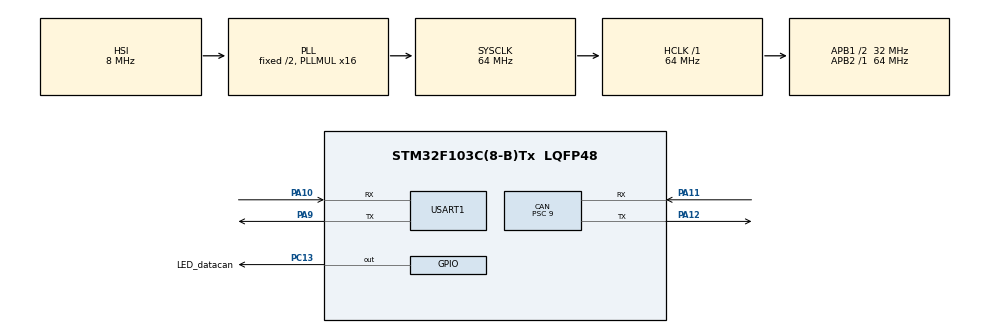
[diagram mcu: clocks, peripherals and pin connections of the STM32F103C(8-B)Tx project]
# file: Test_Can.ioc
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CAN.BS1=CAN_BS1_12TQ
CAN.BS2=CAN_BS2_3TQ
CAN.CalculateBaudRate=222222
CAN.CalculateTimeBit=4500
CAN.CalculateTimeQuantum=281.25
CAN.NART=ENABLE
CAN.Prescaler=9
Mcu.Family=STM32F1
Mcu.Name=STM32F103C(8-B)Tx
Mcu.Package=LQFP48
NVIC.PriorityGroup=NVIC_PRIORITYGROUP_4
NVIC.USB_LP_CAN1_RX0_IRQn=true\:0\:0\:false\:false\:true\:true\:true\:true
PA10.Mode=Asynchronous
PA10.Signal=USART1_RX
PA11.Mode=CAN_Activate
PA11.Signal=CAN_RX
PA12.Mode=CAN_Activate
PA12.Signal=CAN_TX
PA13.Mode=Serial_Wire
PA13.Signal=SYS_JTMS-SWDIO
PA14.Mode=Serial_Wire
PA14.Signal=SYS_JTCK-SWCLK
PA9.Mode=Asynchronous
PA9.Signal=USART1_TX
PC13-TAMPER-RTC.GPIO_Label=LED_datacan
PC13-TAMPER-RTC.Signal=GPIO_Output
ProjectManager.HeapSize=0x200
ProjectManager.StackSize=0x400
ProjectManager.TargetToolchain=STM32CubeIDE
RCC.AHBFreq_Value=64000000
RCC.APB1CLKDivider=RCC_HCLK_DIV2
RCC.APB1Freq_Value=32000000
RCC.APB1TimFreq_Value=64000000
RCC.APB2Freq_Value=64000000
RCC.APB2TimFreq_Value=64000000
RCC.HCLKFreq_Value=64000000
RCC.PLLMUL=RCC_PLL_MUL16
RCC.SYSCLKFreq_VALUE=64000000
RCC.SYSCLKSource=RCC_SYSCLKSOURCE_PLLCLK
RCC.USBFreq_Value=64000000
USART1.VirtualMode=VM_ASYNC
board=custom

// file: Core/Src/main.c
/* USER CODE BEGIN Header */
/**
  ******************************************************************************
  * @file           : main.c
  * @brief          : Main program body
  ******************************************************************************
  * @attention
  *
  * Copyright (c) 2026 STMicroelectronics.
  * All rights reserved.
  *
  * This software is licensed under terms that can be found in the LICENSE file
  * in the root directory of this software component.
  * If no LICENSE file comes with this software, it is provided AS-IS.
  *
  ******************************************************************************
  */
/* USER CODE END Header */
#include "main.h"

/* USER CODE BEGIN Includes */
#include "can_receiver.h"
#include <stdio.h>

/* USER CODE END Includes */

CAN_HandleTypeDef hcan;

UART_HandleTypeDef huart1;

void SystemClock_Config(void);
static void MX_GPIO_Init(void);
static void MX_CAN_Init(void);
static void MX_USART1_UART_Init(void);

int main(void)
{

  /* MCU Configuration--------------------------------------------------------*/

  /* Reset of all peripherals, Initializes the Flash interface and the Systick. */
  HAL_Init();

  /* Configure the system clock */
  SystemClock_Config();

  /* Initialize all configured peripherals */
  MX_GPIO_Init();
  MX_CAN_Init();
  MX_USART1_UART_Init();
  /* USER CODE BEGIN 2 */
  extern void CAN_Receiver_Init(CAN_HandleTypeDef *hcan);
  CAN_Receiver_Init(&hcan);
  /* Khai báo biến cờ external từ file can_receiver.c */
  extern volatile uint8_t can_rx_flag;
  extern UART_HandleTypeDef huart1;
  /* USER CODE END 2 */

  /* Infinite loop */
  while (1)
  {

    /* USER CODE BEGIN 3 */
	  if (can_rx_flag == 1) {
	          can_rx_flag = 0; // Xóa cờ ngay lập tức để nhận gói tiếp theo

	          char log_msg[128];
	          int len = 0;

	          // Tùy theo ID CAN nhận được mà in ra nội dung giải mã tương ứng
	          if (rxed_can_id == 0x400) { // REPORT_FRONT_STATUS
	              len = snprintf(log_msg, sizeof(log_msg),
	                             "[CAN MONITOR] 0x400 (Status): Wiper=%d, Turn=%d\r\n",
	                             monitored_wiper, monitored_turn);
	          }
	          else if (rxed_can_id == 0x500) { // FAULT_FRONT_BCM
	              len = snprintf(log_msg, sizeof(log_msg),
	                             "[CAN MONITOR] 0x500 (DTC): Severity=%d, Code=0x%04X, Error=%d\r\n",
	                             dtc_severity, dtc_code_received, simple_error_code);
	          }
	          else {
	              // Đối với các gói ID khác chưa cấu hình giải mã chi tiết, in ra dữ liệu thô
	              len = snprintf(log_msg, sizeof(log_msg),
	                             "[CAN MONITOR] ID: 0x%03lX | DLC: %d | Data: 0x%02X 0x%02X\r\n",
	                             rxed_can_id, rxed_dlc, rxed_data[0], rxed_data[1]);
	          }

	          // Bắn log qua UART ra màn hình máy tính
	          HAL_UART_Transmit(&huart1, (uint8_t *)log_msg, len, 10);
	      }
	    }

  /* USER CODE END 3 */
}

void SystemClock_Config(void)
{
  RCC_OscInitTypeDef RCC_OscInitStruct = {0};
  RCC_ClkInitTypeDef RCC_ClkInitStruct = {0};

  /** Initializes the RCC Oscillators according to the specified parameters
  * in the RCC_OscInitTypeDef structure.
  */
  RCC_OscInitStruct.OscillatorType = RCC_OSCILLATORTYPE_HSI;
  RCC_OscInitStruct.HSIState = RCC_HSI_ON;
  RCC_OscInitStruct.HSICalibrationValue = RCC_HSICALIBRATION_DEFAULT;
  RCC_OscInitStruct.PLL.PLLState = RCC_PLL_ON;
  RCC_OscInitStruct.PLL.PLLSource = RCC_PLLSOURCE_HSI_DIV2;
  RCC_OscInitStruct.PLL.PLLMUL = RCC_PLL_MUL16;
  if (HAL_RCC_OscConfig(&RCC_OscInitStruct) != HAL_OK)
  {
    Error_Handler();
  }

  /** Initializes the CPU, AHB and APB buses clocks
  */
  RCC_ClkInitStruct.ClockType = RCC_CLOCKTYPE_HCLK|RCC_CLOCKTYPE_SYSCLK
                              |RCC_CLOCKTYPE_PCLK1|RCC_CLOCKTYPE_PCLK2;
  RCC_ClkInitStruct.SYSCLKSource = RCC_SYSCLKSOURCE_PLLCLK;
  RCC_ClkInitStruct.AHBCLKDivider = RCC_SYSCLK_DIV1;
  RCC_ClkInitStruct.APB1CLKDivider = RCC_HCLK_DIV2;
  RCC_ClkInitStruct.APB2CLKDivider = RCC_HCLK_DIV1;

  if (HAL_RCC_ClockConfig(&RCC_ClkInitStruct, FLASH_LATENCY_2) != HAL_OK)
  {
    Error_Handler();
  }
}

static void MX_CAN_Init(void)
{

  hcan.Instance = CAN1;
  hcan.Init.Prescaler = 9;
  hcan.Init.Mode = CAN_MODE_NORMAL;
  hcan.Init.SyncJumpWidth = CAN_SJW_1TQ;
  hcan.Init.TimeSeg1 = CAN_BS1_12TQ;
  hcan.Init.TimeSeg2 = CAN_BS2_3TQ;
  hcan.Init.TimeTriggeredMode = DISABLE;
  hcan.Init.AutoBusOff = DISABLE;
  hcan.Init.AutoWakeUp = DISABLE;
  hcan.Init.AutoRetransmission = ENABLE;
  hcan.Init.ReceiveFifoLocked = DISABLE;
  hcan.Init.TransmitFifoPriority = DISABLE;
  if (HAL_CAN_Init(&hcan) != HAL_OK)
  {
    Error_Handler();
  }

}

static void MX_USART1_UART_Init(void)
{

  huart1.Instance = USART1;
  huart1.Init.BaudRate = 115200;
  huart1.Init.WordLength = UART_WORDLENGTH_8B;
  huart1.Init.StopBits = UART_STOPBITS_1;
  huart1.Init.Parity = UART_PARITY_NONE;
  huart1.Init.Mode = UART_MODE_TX_RX;
  huart1.Init.HwFlowCtl = UART_HWCONTROL_NONE;
  huart1.Init.OverSampling = UART_OVERSAMPLING_16;
  if (HAL_UART_Init(&huart1) != HAL_OK)
  {
    Error_Handler();
  }

}

static void MX_GPIO_Init(void)
{
  GPIO_InitTypeDef GPIO_InitStruct = {0};

  /* GPIO Ports Clock Enable */
  __HAL_RCC_GPIOC_CLK_ENABLE();
  __HAL_RCC_GPIOA_CLK_ENABLE();

  /*Configure GPIO pin Output Level */
  HAL_GPIO_WritePin(LED_datacan_GPIO_Port, LED_datacan_Pin, GPIO_PIN_RESET);

  /*Configure GPIO pin : LED_datacan_Pin */
  GPIO_InitStruct.Pin = LED_datacan_Pin;
  GPIO_InitStruct.Mode = GPIO_MODE_OUTPUT_PP;
  GPIO_InitStruct.Pull = GPIO_NOPULL;
  GPIO_InitStruct.Speed = GPIO_SPEED_FREQ_LOW;
  HAL_GPIO_Init(LED_datacan_GPIO_Port, &GPIO_InitStruct);

}

void Error_Handler(void)
{
  __disable_irq();
  while (1)
  {
  }
}
